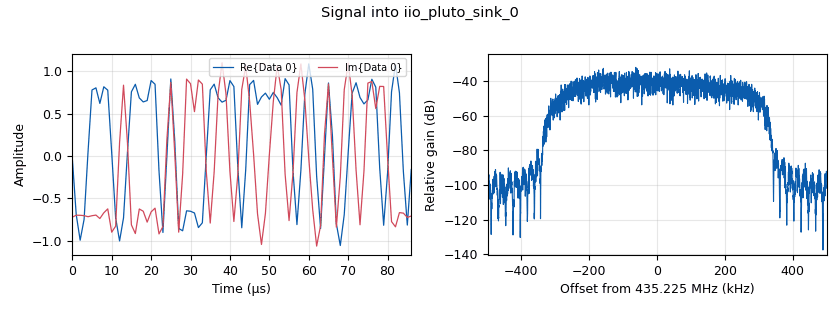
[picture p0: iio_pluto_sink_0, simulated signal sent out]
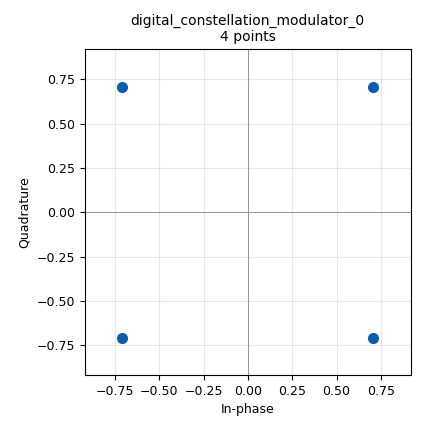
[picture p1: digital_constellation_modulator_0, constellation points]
options:
  parameters:
    generate_options: qt_gui
    id: basic_qam
    output_language: python
    title: Not titled yet
  states: {}

blocks:
- name: Basic16QAM
  id: variable_constellation
  parameters:
    const_points: '[-1-1j, -1+1j, 1+1j, 1-1j]'
    dims: '1'
    normalization: digital.constellation.AMPLITUDE_NORMALIZATION
    precision: '8'
    rot_sym: '4'
    sym_map: '[0, 1, 3, 2]'
    type: calcdist
  states: {}
- name: samp_rate
  id: variable
  parameters:
    value: '32000'
  states: {}
- name: analog_random_source_x_0
  id: analog_random_source_x
  parameters:
    max: '140'
    min: '0'
    num_samps: '1000'
    repeat: 'True'
    type: byte
  states: {}
- name: digital_constellation_modulator_0
  id: digital_constellation_modulator
  parameters:
    constellation: Basic16QAM
    differential: 'True'
    excess_bw: '0.35'
    samples_per_symbol: '2'
  states: {}
- name: iio_pluto_sink_0
  id: iio_pluto_sink
  parameters:
    attenuation1: '0'
    bandwidth: '20000000'
    buffer_size: '32768'
    cyclic: 'False'
    filter_source: '''Auto'''
    frequency: int(435.225e6)
    samplerate: int(1e6)
    type: fc32
    uri: '''ip:192.168.2.1'''
  states: {}
- name: iio_pluto_source_0
  id: iio_pluto_source
  parameters:
    bandwidth: '20000000'
    bbdc: 'True'
    buffer_size: '32768'
    filter_source: '''Auto'''
    frequency: int(435.225e6)
    gain1: '''slow_attack'''
    quadrature: 'True'
    rfdc: 'True'
    samplerate: int(8e6)
    type: fc32
    uri: '''ip:192.168.2.1'''
  states: {}
- name: qtgui_const_sink_x_0
  id: qtgui_const_sink_x
  parameters:
    size: '1024'
    type: complex
  states: {}
- name: qtgui_freq_sink_x_0
  id: qtgui_freq_sink_x
  parameters:
    bw: int(1e6)
    fc: int(435.225e6)
    fftsize: '1024'
    name: '"Raw RX Histogram"'
    type: complex
  states: {}
- name: qtgui_waterfall_sink_x_0
  id: qtgui_waterfall_sink_x
  parameters:
    bw: samp_rate
    fc: '0'
    fftsize: '1024'
    name: '"Raw RX Waterfall"'
    type: complex
  states: {}

connections:
- [analog_random_source_x_0, '0', digital_constellation_modulator_0, '0']
- [digital_constellation_modulator_0, '0', iio_pluto_sink_0, '0']
- [iio_pluto_source_0, '0', qtgui_const_sink_x_0, '0']
- [iio_pluto_source_0, '0', qtgui_freq_sink_x_0, '0']
- [iio_pluto_source_0, '0', qtgui_waterfall_sink_x_0, '0']

metadata:
  file_format: 1
  grc_version: 3.10.12.0
